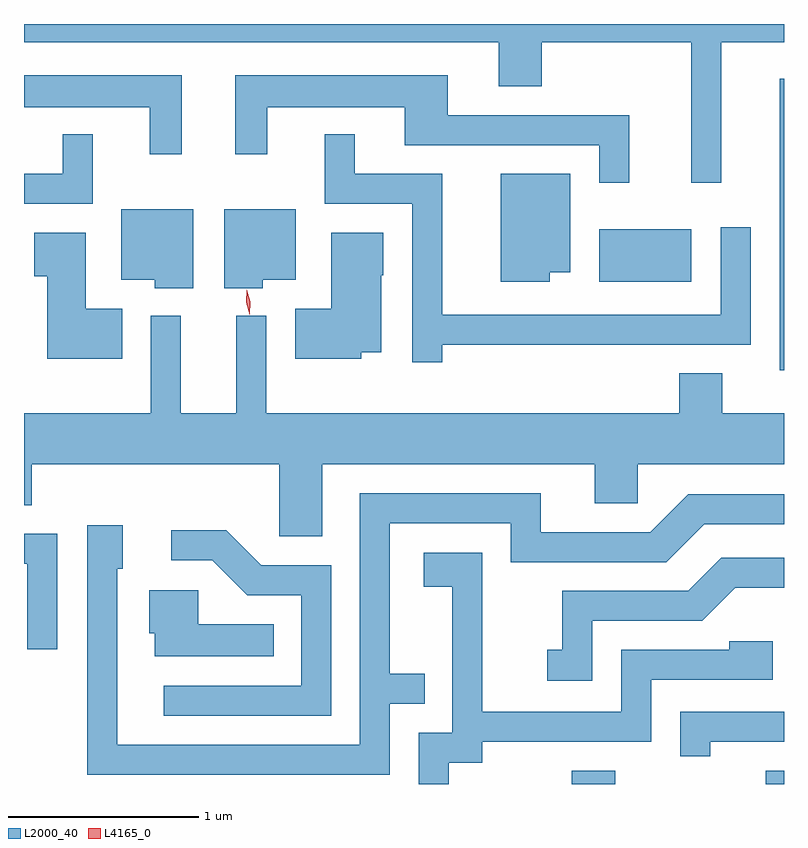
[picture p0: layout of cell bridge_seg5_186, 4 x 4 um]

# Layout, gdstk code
import gdstk
lib = gdstk.Library(unit=1e-6, precision=1e-09)
def R(c, l, rs):  # rectangles x0, y0, x1, y1
    for r in rs: c.add(gdstk.rectangle(r[:2], r[2:], *l))
def P(c, l, *ps):  # polygons
    for p in ps: c.add(gdstk.Polygon(p, *l))
L2000_40 = (2000, 40)
L4165_0 = (4165, 0)

bridge_seg5_186 = lib.new_cell('bridge_seg5_186')
R(bridge_seg5_186, L2000_40, [(1319.721,1417.373,1319.949,1417.444), (1320.741,1417.373,1320.838,1417.444), (1320.816,1419.551,1320.838,1421.084), (1319.866,1420.016,1320.349,1420.294)])
P(bridge_seg5_186, L2000_40, [(1320.509,1421.276),(1320.838,1421.276),(1320.838,1421.373),(1316.838,1421.373),(1316.838,1421.276),(1319.336,1421.276),(1319.336,1421.046),(1319.564,1421.046),(1319.564,1421.276),(1320.351,1421.276),(1320.351,1420.538),(1320.509,1420.538)],
  [(1317.669,1421.104),(1316.838,1421.104),(1316.838,1420.936),(1317.501,1420.936),(1317.501,1420.688),(1317.669,1420.688)],
  [(1320.024,1420.894),(1319.069,1420.894),(1319.069,1421.104),(1317.951,1421.104),(1317.951,1420.688),(1318.119,1420.688),(1318.119,1420.936),(1318.841,1420.936),(1318.841,1420.736),(1319.866,1420.736),(1319.866,1420.538),(1320.024,1420.538)],
  [(1317.199,1420.793),(1317.041,1420.793),(1317.041,1420.584),(1316.838,1420.584),(1316.838,1420.426),(1317.199,1420.426)],
  [(1319.039,1419.686),(1320.664,1419.686),(1320.664,1420.303),(1320.506,1420.303),(1320.506,1419.844),(1319.039,1419.844),(1319.039,1420.584),(1318.579,1420.584),(1318.579,1420.793),(1318.421,1420.793),(1318.421,1420.426),(1318.881,1420.426),(1318.881,1419.593),(1319.039,1419.593)],
  [(1319.604,1420.066),(1319.714,1420.066),(1319.714,1420.584),(1319.346,1420.584),(1319.346,1420.016),(1319.604,1420.016)],
  [(1317.729,1420.399),(1317.351,1420.399),(1317.351,1420.026),(1317.526,1420.026),(1317.526,1419.981),(1317.729,1419.981)],
  [(1318.094,1420.026),(1318.269,1420.026),(1318.269,1420.399),(1317.891,1420.399),(1317.891,1419.981),(1318.094,1419.981)],
  [(1318.614,1419.646),(1318.719,1419.646),(1318.719,1420.05),(1318.729,1420.05),(1318.729,1420.274),(1318.456,1420.274),(1318.456,1419.874),(1318.266,1419.874),(1318.266,1419.611),(1318.614,1419.611)],
  [(1317.354,1419.874),(1317.164,1419.874),(1317.164,1420.274),(1316.891,1420.274),(1316.891,1420.046),(1316.961,1420.046),(1316.961,1419.611),(1317.354,1419.611)],
  [(1318.409,1419.056),(1319.841,1419.056),(1319.841,1418.851),(1320.069,1418.851),(1320.069,1419.056),(1320.838,1419.056),(1320.838,1419.324),(1320.514,1419.324),(1320.514,1419.534),(1320.286,1419.534),(1320.286,1419.324),(1318.114,1419.324),(1318.114,1419.838),(1317.956,1419.838),(1317.956,1419.324),(1317.664,1419.324),(1317.664,1419.838),(1317.506,1419.838),(1317.506,1419.324),(1316.838,1419.324),(1316.838,1418.841),(1316.879,1418.841),(1316.879,1419.056),(1318.181,1419.056),(1318.181,1418.676),(1318.409,1418.676)],
  [(1318.764,1417.796),(1318.948,1417.796),(1318.948,1417.954),(1318.764,1417.954),(1318.764,1418.746),(1319.401,1418.746),(1319.401,1418.541),(1320.217,1418.541),(1320.417,1418.741),(1320.838,1418.741),(1320.838,1418.899),(1320.334,1418.899),(1320.134,1418.699),(1319.559,1418.699),(1319.559,1418.904),(1318.606,1418.904),(1318.606,1417.579),(1317.329,1417.579),(1317.329,1418.506),(1317.359,1418.506),(1317.359,1418.734),(1317.171,1418.734),(1317.171,1417.421),(1318.764,1417.421)],
  [(1318.454,1418.524),(1318.087,1418.524),(1317.902,1418.709),(1317.613,1418.709),(1317.613,1418.551),(1317.829,1418.551),(1318.014,1418.366),(1318.296,1418.366),(1318.296,1417.889),(1317.573,1417.889),(1317.573,1417.731),(1318.454,1417.731)],
  [(1317.014,1418.689),(1316.838,1418.689),(1316.838,1418.531),(1316.856,1418.531),(1316.856,1418.083),(1317.014,1418.083)],
  [(1319.074,1417.486),(1319.249,1417.486),(1319.249,1417.596),(1320.139,1417.596),(1320.139,1417.921),(1320.779,1417.921),(1320.779,1418.124),(1320.551,1418.124),(1320.551,1418.079),(1319.981,1418.079),(1319.981,1417.754),(1319.249,1417.754),(1319.249,1418.589),(1318.941,1418.589),(1318.941,1418.411),(1319.091,1418.411),(1319.091,1417.644),(1318.916,1417.644),(1318.916,1417.373),(1319.074,1417.373)],
  [(1319.829,1418.231),(1320.407,1418.231),(1320.582,1418.406),(1320.838,1418.406),(1320.838,1418.564),(1320.509,1418.564),(1320.334,1418.389),(1319.671,1418.389),(1319.671,1418.079),(1319.593,1418.079),(1319.593,1417.916),(1319.829,1417.916)],
  [(1318.153,1418.214),(1317.754,1418.214),(1317.754,1418.394),(1317.496,1418.394),(1317.496,1418.166),(1317.526,1418.166),(1317.526,1418.046),(1318.153,1418.046)],
  [(1320.449,1417.596),(1320.838,1417.596),(1320.838,1417.754),(1320.291,1417.754),(1320.291,1417.518),(1320.449,1417.518)])
P(bridge_seg5_186, L4165_0, [(1318.025,1419.843),(1318.008,1419.908),(1318.01,1419.974),(1318.01,1419.975),(1318.011,1419.974),(1318.028,1419.91),(1318.026,1419.843),(1318.026,1419.843)])

lib.write_gds('bridge_seg5_186.gds')
